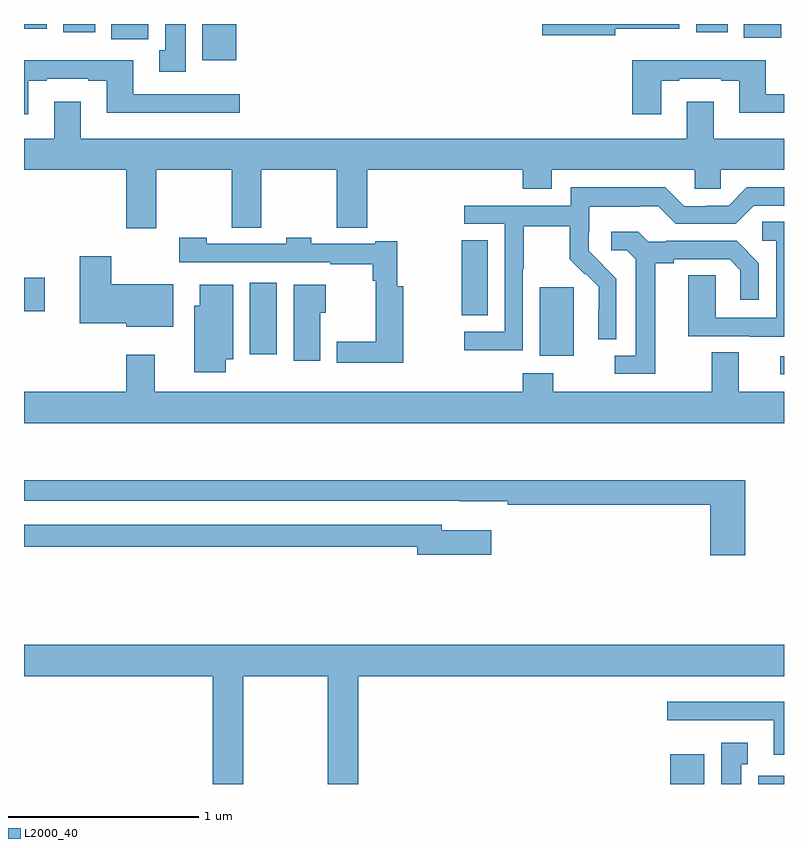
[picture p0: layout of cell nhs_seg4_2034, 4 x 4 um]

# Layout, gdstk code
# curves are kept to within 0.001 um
import gdstk
lib = gdstk.Library(unit=1e-6, precision=1e-09)
def R(c, l, rs):  # rectangles x0, y0, x1, y1
    for r in rs: c.add(gdstk.rectangle(r[:2], r[2:], *l))
def P(c, l, *ps):  # polygons
    for p in ps: c.add(gdstk.Polygon(p, *l))
L2000_40 = (2000, 40)

nhs_seg4_2034 = lib.new_cell('nhs_seg4_2034')
R(nhs_seg4_2034, L2000_40, [(218.402,814.9,218.581,815.056), (218.865,814.9,219,814.944), (218.979,817.056,219,817.152), (217.715,817.154,217.894,817.515), (216.188,817.161,216.331,817.537), (217.303,817.366,217.441,817.763), (215,817.387,215.11,817.565), (215.939,818.708,216.118,818.9), (215.459,818.82,215.655,818.9), (218.789,818.828,218.986,818.9), (215.207,818.856,215.374,818.9), (218.537,818.856,218.704,818.9), (215,818.876,215.119,818.9)])
P(nhs_seg4_2034, L2000_40, [(215.851,818.9),(215.744,818.9),(215.744,818.761),(215.711,818.761),(215.711,818.649),(215.851,818.649)],
  [(218.112,818.876),(218.449,818.876),(218.449,818.9),(217.728,818.9),(217.728,818.84),(218.112,818.84)],
  [(215.023,818.601),(215.119,818.601),(215.119,818.613),(215.339,818.613),(215.339,818.601),(215.435,818.601),(215.435,818.432),(216.136,818.432),(216.136,818.529),(215.575,818.529),(215.575,818.71),(215,818.71),(215,818.424),(215.023,818.424)],
  [(218.353,818.601),(218.449,818.601),(218.449,818.613),(218.669,818.613),(218.669,818.601),(218.765,818.601),(218.765,818.432),(219,818.432),(219,818.529),(218.905,818.529),(218.905,818.71),(218.201,818.71),(218.201,818.424),(218.353,818.424)],
  [(215.697,818.132),(216.094,818.132),(216.094,817.828),(216.248,817.828),(216.248,818.132),(216.646,818.132),(216.646,817.828),(216.806,817.828),(216.806,818.132),(217.625,818.132),(217.625,818.033),(217.777,818.033),(217.777,818.132),(218.529,818.132),(218.529,818.034),(218.667,818.034),(218.667,818.132),(219,818.132),(219,818.296),(218.629,818.296),(218.629,818.491),(218.489,818.491),(218.489,818.296),(215.299,818.296),(215.299,818.491),(215.159,818.491),(215.159,818.296),(215,818.296),(215,818.132),(215.537,818.132),(215.537,817.824),(215.697,817.824)],
  [(217.626,817.612),(217.629,817.612),(217.629,817.836),(217.873,817.836),(217.873,817.661),(217.95,817.584),(217.953,817.587),(218.024,817.517),(218.024,817.394),(218.022,817.394),(218.022,817.24),(218.118,817.24),(218.118,817.558),(217.972,817.706),(217.972,817.803),(217.974,817.803),(217.974,817.937),(218.237,817.937),(218.237,817.941),(218.337,817.941),(218.43,817.848),(218.745,817.848),(218.841,817.944),(219,817.944),(219,818.04),(218.805,818.04),(218.709,817.944),(218.591,817.944),(218.591,817.941),(218.475,817.941),(218.375,818.041),(217.878,818.041),(217.878,817.944),(217.317,817.944),(217.317,817.848),(217.53,817.848),(217.53,817.281),(217.317,817.281),(217.317,817.183),(217.626,817.183)],
  [(219,817.859),(218.886,817.859),(218.886,817.758),(218.958,817.758),(218.958,817.353),(218.64,817.353),(218.64,817.577),(218.495,817.577),(218.495,817.257),(218.819,817.257),(218.819,817.253),(219,817.253)],
  [(218.323,817.64),(218.419,817.64),(218.419,817.662),(218.714,817.662),(218.771,817.605),(218.771,817.449),(218.868,817.449),(218.868,817.642),(218.752,817.758),(218.38,817.758),(218.38,817.755),(218.286,817.755),(218.234,817.807),(218.091,817.807),(218.091,817.71),(218.172,817.71),(218.219,817.663),(218.219,817.155),(218.109,817.155),(218.109,817.059),(218.323,817.059)],
  [(216.996,817.519),(216.964,817.519),(216.964,817.756),(216.848,817.756),(216.848,817.743),(216.513,817.743),(216.513,817.776),(216.381,817.776),(216.381,817.743),(215.961,817.743),(215.961,817.776),(215.817,817.776),(215.817,817.647),(216.613,817.647),(216.613,817.635),(216.835,817.635),(216.835,817.55),(216.85,817.55),(216.85,817.228),(216.645,817.228),(216.645,817.118),(216.996,817.118)],
  [(215.785,817.531),(215.46,817.531),(215.46,817.678),(215.294,817.678),(215.294,817.325),(215.538,817.325),(215.538,817.307),(215.785,817.307)],
  [(216.559,817.381),(216.589,817.381),(216.589,817.528),(216.419,817.528),(216.419,817.128),(216.559,817.128)],
  [(216.063,817.136),(216.1,817.136),(216.1,817.528),(215.924,817.528),(215.924,817.416),(215.897,817.416),(215.897,817.068),(216.063,817.068)],
  [(219,816.964),(218.761,816.964),(218.761,817.172),(218.621,817.172),(218.621,816.964),(217.785,816.964),(217.785,817.063),(217.625,817.063),(217.625,816.964),(215.689,816.964),(215.689,817.159),(215.537,817.159),(215.537,816.964),(215,816.964),(215,816.8),(219,816.8)],
  [(218.795,816.499),(215,816.499),(215,816.39),(217.294,816.39),(217.294,816.389),(217.546,816.389),(217.546,816.37),(218.612,816.37),(218.612,816.105),(218.795,816.105)],
  [(217.459,816.235),(217.198,816.235),(217.198,816.264),(215,816.264),(215,816.148),(217.07,816.148),(217.07,816.106),(217.459,816.106)],
  [(216.153,815.468),(216.598,815.468),(216.598,814.9),(216.758,814.9),(216.758,815.468),(219,815.468),(219,815.632),(215,815.632),(215,815.468),(215.993,815.468),(215.993,814.9),(216.153,814.9)],
  [(219,815.332),(218.385,815.332),(218.385,815.235),(218.945,815.235),(218.945,815.054),(219,815.054)],
  [(218.776,815.003),(218.809,815.003),(218.809,815.116),(218.669,815.116),(218.669,814.9),(218.776,814.9)])

lib.write_gds('nhs_seg4_2034.gds')
